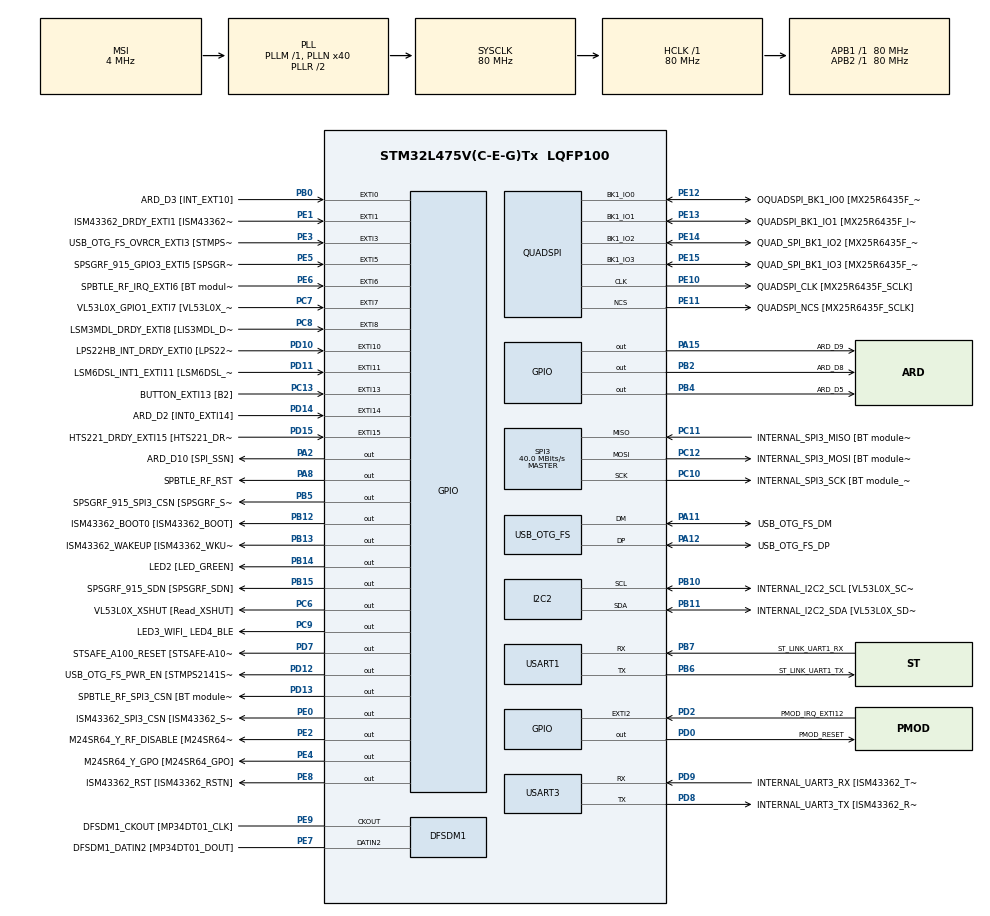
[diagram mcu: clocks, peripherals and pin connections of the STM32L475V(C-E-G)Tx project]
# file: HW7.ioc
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FREERTOS.Tasks01=defaultTask,0,128,StartDefaultTask,Default,NULL,Dynamic,NULL,NULL
I2C2.Timing=0x10D19CE4
Mcu.Family=STM32L4
Mcu.Name=STM32L475V(C-E-G)Tx
Mcu.Package=LQFP100
NVIC.EXTI15_10_IRQn=true\:5\:0\:false\:false\:true\:true\:true\:true\:true
NVIC.EXTI9_5_IRQn=true\:5\:0\:false\:false\:true\:true\:true\:true\:true
NVIC.PriorityGroup=NVIC_PRIORITYGROUP_4
PA0.GPIO_Label=ARD_D1 [UART4_TX]
PA0.Signal=UART4_TX
PA1.GPIO_Label=ARD_D0 [UART4_RX]
PA1.Signal=UART4_RX
PA10.GPIO_Label=USB_OTG_FS_ID
PA10.Signal=USB_OTG_FS_ID
PA11.GPIO_Label=USB_OTG_FS_DM
PA11.Mode=Device_Only
PA11.Signal=USB_OTG_FS_DM
PA12.GPIO_Label=USB_OTG_FS_DP
PA12.Mode=Device_Only
PA12.Signal=USB_OTG_FS_DP
PA13\ (JTMS-SWDIO).GPIO_Label=SYS_JTMS_SWDIO
PA13\ (JTMS-SWDIO).Mode=Serial_Wire
PA13\ (JTMS-SWDIO).Signal=SYS_JTMS-SWDIO
PA14\ (JTCK-SWCLK).GPIO_Label=SYS_JTCK_SWCLK
PA14\ (JTCK-SWCLK).Mode=Serial_Wire
PA14\ (JTCK-SWCLK).Signal=SYS_JTCK-SWCLK
PA15\ (JTDI).GPIO_Label=ARD_D9
PA15\ (JTDI).Signal=GPIO_Output
PA2.GPIO_Label=ARD_D10 [SPI_SSN]
PA2.Signal=GPIO_Output
PA3.GPIO_Label=ARD_D4
PA3.Signal=S_TIM2_CH4
PA4.GPIO_Label=ARD_D7
PA4.Signal=ADCx_IN9
PA5.GPIO_Label=ARD_D13 [SPI1_SCK]
PA5.Signal=SPI1_SCK
PA6.GPIO_Label=ARD_D12 [SPI1_MISO]
PA6.Signal=SPI1_MISO
PA7.GPIO_Label=ARD_D11 [SPI1_MOSI]
PA7.Signal=SPI1_MOSI
PA8.GPIO_Label=SPBTLE_RF_RST
PA8.Signal=GPIO_Output
PA9.GPIO_Label=USB_OTG_FS_VBUS [STMPS2141STR_OUT]
PA9.Signal=USB_OTG_FS_VBUS
PB0.GPIO_Label=ARD_D3 [INT_EXT10]
PB0.Signal=GPXTI0
PB1.GPIO_Label=ARD_D6 [ADC1_IN6]
PB1.Signal=ADCx_IN16
PB10.GPIO_Label=INTERNAL_I2C2_SCL [VL53L0X_SCL]
PB10.GPIO_Pu=GPIO_PULLUP
PB10.Mode=I2C
PB10.Signal=I2C2_SCL
PB11.GPIO_Label=INTERNAL_I2C2_SDA [VL53L0X_SDA]
PB11.GPIO_Pu=GPIO_PULLUP
PB11.Mode=I2C
PB11.Signal=I2C2_SDA
PB12.GPIO_Label=ISM43362_BOOT0 [ISM43362_BOOT]
PB12.Signal=GPIO_Output
PB13.GPIO_Label=ISM43362_WAKEUP [ISM43362_WKUP]
PB13.Signal=GPIO_Output
PB14.GPIO_Label=LED2 [LED_GREEN]
PB14.Signal=GPIO_Output
PB15.GPIO_Label=SPSGRF_915_SDN [SPSGRF_SDN]
PB15.Signal=GPIO_Output
PB2.GPIO_Label=ARD_D8
PB2.Signal=GPIO_Output
PB3\ (JTDO-TRACESWO).GPIO_Label=SYS_JTD0_SWO
PB3\ (JTDO-TRACESWO).Signal=SYS_JTDO-SWO
PB4\ (NJTRST).GPIO_Label=ARD_D5
PB4\ (NJTRST).Signal=GPIO_Output
PB5.GPIO_Label=SPSGRF_915_SPI3_CSN [SPSGRF_SPI_CS]
PB5.PinState=GPIO_PIN_SET
PB5.Signal=GPIO_Output
PB6.GPIO_Label=ST_LINK_UART1_TX
PB6.Mode=Asynchronous
PB6.Signal=USART1_TX
PB7.GPIO_Label=ST_LINK_UART1_RX
PB7.Mode=Asynchronous
PB7.Signal=USART1_RX
PB8.GPIO_Label=ARD_D15 [I2C1_SCL]
PB8.Signal=I2C1_SCL
PB9.GPIO_Label=ARD_D14 [I2C1_SDA]
PB9.Signal=I2C1_SDA
PC0.GPIO_Label=ARD_A5 [ADC]
PC0.Signal=ADCx_IN1
PC1.GPIO_Label=ARD_A4 [ADC]
PC1.Signal=ADCx_IN2
PC10.GPIO_Label=INTERNAL_SPI3_SCK [BT module_SPI_SCLK] [ISM43362_SCK]
PC10.Mode=Full_Duplex_Master
PC10.Signal=SPI3_SCK
PC11.GPIO_Label=INTERNAL_SPI3_MISO [BT module_SPI_MISO] [ISM43362_MISO]
PC11.Mode=Full_Duplex_Master
PC11.Signal=SPI3_MISO
PC12.GPIO_Label=INTERNAL_SPI3_MOSI [BT module_SPI_MOSI] [ISM43362_MOSI]
PC12.Mode=Full_Duplex_Master
PC12.Signal=SPI3_MOSI
PC13.GPIO_Label=BUTTON_EXTI13 [B2]
PC13.GPIO_ModeDefaultEXTI=GPIO_MODE_IT_FALLING
PC13.Signal=GPXTI13
PC14-OSC32_IN\ (PC14).Mode=LSE-External-Oscillator
PC14-OSC32_IN\ (PC14).Signal=RCC_OSC32_IN
PC15-OSC32_OUT\ (PC15).Mode=LSE-External-Oscillator
PC15-OSC32_OUT\ (PC15).Signal=RCC_OSC32_OUT
PC2.GPIO_Label=ARD_A3 [ADC]
PC2.Signal=ADCx_IN3
PC3.GPIO_Label=ARD_A2 [ADC]
PC3.Signal=ADCx_IN4
PC4.GPIO_Label=ARD_A1 [ADC]
PC4.Signal=ADCx_IN13
PC5.GPIO_Label=ARD_A0 [ADC]
PC5.Signal=ADCx_IN14
PC6.GPIO_Label=VL53L0X_XSHUT [Read_XSHUT]
PC6.Signal=GPIO_Output
PC7.GPIO_Label=VL53L0X_GPIO1_EXTI7 [VL53L0X_GPIO1]
PC7.Signal=GPXTI7
PC8.GPIO_Label=LSM3MDL_DRDY_EXTI8 [LIS3MDL_DRDY]
PC8.Signal=GPXTI8
PC9.GPIO_Label=LED3_WIFI_ LED4_BLE
PC9.Signal=GPIO_Output
PD0.GPIO_Label=PMOD_RESET
PD0.Signal=GPIO_Output
PD1.GPIO_Label=PMOD_SPI2_SCK
PD1.Signal=SPI2_SCK
PD10.GPIO_Label=LPS22HB_INT_DRDY_EXTI0 [LPS22HB_INT_DRDY] 
PD10.Signal=GPXTI10
PD11.GPIO_Label=LSM6DSL_INT1_EXTI11 [LSM6DSL_INT1]
PD11.Signal=GPXTI11
PD12.GPIO_Label=USB_OTG_FS_PWR_EN [STMPS2141STR_EN]
PD12.Signal=GPIO_Output
PD13.GPIO_Label=SPBTLE_RF_SPI3_CSN [BT module_SPI_CS]
PD13.PinState=GPIO_PIN_SET
PD13.Signal=GPIO_Output
PD14.GPIO_Label=ARD_D2 [INT0_EXTI14]
PD14.Signal=GPXTI14
PD15.GPIO_Label=HTS221_DRDY_EXTI15 [HTS221_DRDY]
PD15.Signal=GPXTI15
PD2.GPIO_Label=PMOD_IRQ_EXTI12
PD2.Signal=GPXTI2
PD3.GPIO_Label=PMOD_UART2_CTS
PD3.Signal=USART2_CTS
PD4.GPIO_Label=PMOD_UART2_RTS
PD4.Signal=USART2_RTS
PD5.GPIO_Label=PMOD_UART2_TX
PD5.Signal=USART2_TX
PD6.GPIO_Label=PMOD_UART2_RX
PD6.Signal=USART2_RX
PD7.GPIO_Label=STSAFE_A100_RESET [STSAFE-A100_RESET]
PD7.Signal=GPIO_Output
PD8.GPIO_Label=INTERNAL_UART3_TX [ISM43362_RX]
PD8.Mode=Asynchronous
PD8.Signal=USART3_TX
PD9.GPIO_Label=INTERNAL_UART3_RX [ISM43362_TX]
PD9.Mode=Asynchronous
PD9.Signal=USART3_RX
PE0.GPIO_Label=ISM43362_SPI3_CSN [ISM43362_SSN]
PE0.PinState=GPIO_PIN_SET
PE0.Signal=GPIO_Output
PE1.GPIO_Label=ISM43362_DRDY_EXTI1 [ISM43362_DATARDY]
PE1.Signal=GPXTI1
PE10.GPIO_Label=QUADSPI_CLK [MX25R6435F_SCLK]
PE10.Mode=Single Bank
PE10.Signal=QUADSPI_CLK
PE11.GPIO_Label=QUADSPI_NCS [MX25R6435F_SCLK]
PE11.Mode=Single Bank
PE11.Signal=QUADSPI_NCS
PE12.GPIO_Label=OQUADSPI_BK1_IO0 [MX25R6435F_IO0]
PE12.Mode=Single Bank
PE12.Signal=QUADSPI_BK1_IO0
PE13.GPIO_Label=QUADSPI_BK1_IO1 [MX25R6435F_IO1]
PE13.Mode=Single Bank
PE13.Signal=QUADSPI_BK1_IO1
PE14.GPIO_Label=QUAD_SPI_BK1_IO2 [MX25R6435F_IO2]
PE14.Mode=Single Bank
PE14.Signal=QUADSPI_BK1_IO2
PE15.GPIO_Label=QUAD_SPI_BK1_IO3 [MX25R6435F_IO3]
PE15.Mode=Single Bank
PE15.Signal=QUADSPI_BK1_IO3
PE2.GPIO_Label=M24SR64_Y_RF_DISABLE [M24SR64_RFDIS]
PE2.Signal=GPIO_Output
PE3.GPIO_Label=USB_OTG_FS_OVRCR_EXTI3 [STMPS2141STR_FAULT]
PE3.Signal=GPXTI3
PE4.GPIO_Label=M24SR64_Y_GPO [M24SR64_GPO]
PE4.Signal=GPIO_Output
PE5.GPIO_Label=SPSGRF_915_GPIO3_EXTI5 [SPSGRF_GPIO_3]
PE5.Signal=GPXTI5
PE6.GPIO_Label=SPBTLE_RF_IRQ_EXTI6 [BT module_SPI_IRQ]
PE6.Signal=GPXTI6
PE7.GPIO_Label=DFSDM1_DATIN2 [MP34DT01_DOUT]
PE7.Signal=S_DATAIN2DFSDM1
PE8.GPIO_Label=ISM43362_RST [ISM43362_RSTN]
PE8.Signal=GPIO_Output
PE9.GPIO_Label=DFSDM1_CKOUT [MP34DT01_CLK]
PE9.Signal=S_CKOUTDFSDM1
ProjectManager.HeapSize=0x200
ProjectManager.StackSize=0x400
ProjectManager.TargetToolchain=STM32CubeIDE
QUADSPI.ClockPrescaler=2
QUADSPI.FifoThreshold=4
QUADSPI.FlashSize=23
QUADSPI.SampleShifting=QSPI_SAMPLE_SHIFTING_HALFCYCLE
RCC.ADCFreq_Value=48000000
RCC.AHBFreq_Value=80000000
RCC.APB1Freq_Value=80000000
RCC.APB1TimFreq_Value=80000000
RCC.APB2Freq_Value=80000000
RCC.APB2TimFreq_Value=80000000
RCC.CortexFreq_Value=80000000
RCC.HCLKFreq_Value=80000000
RCC.HSE_VALUE=8000000
RCC.HSI_VALUE=16000000
RCC.MSI_VALUE=4000000
RCC.PLLN=40
RCC.PLLSAI1N=24
RCC.SYSCLKFreq_VALUE=80000000
RCC.SYSCLKSource=RCC_SYSCLKSOURCE_PLLCLK
RCC.USBFreq_Value=48000000
RCC.VCOOutputFreq_Value=160000000
SH.ADCx_IN1.0=ADC1_IN1
SH.ADCx_IN13.0=ADC1_IN13
SH.ADCx_IN14.0=ADC1_IN14
SH.ADCx_IN16.0=ADC1_IN16
SH.ADCx_IN2.0=ADC1_IN2
SH.ADCx_IN3.0=ADC1_IN3
SH.ADCx_IN4.0=ADC1_IN4
SH.ADCx_IN9.0=ADC1_IN9
SH.S_CKOUTDFSDM1.0=DFSDM1_CKOUT,CKOUT
SH.S_CKOUTDFSDM1.1=DFSDM1_CKOUT,PDM_SPI_Input_from_ch12_and_Internal_Clock
SH.S_DATAIN2DFSDM1.0=DFSDM1_DATIN2,PDM_SPI_Input_from_ch12_and_Internal_Clock
SH.S_TIM2_CH4.0=TIM2_CH4
SPI3.CalculateBaudRate=40.0 MBits/s
SPI3.Direction=SPI_DIRECTION_2LINES
SPI3.Mode=SPI_MODE_MASTER
SPI3.VirtualType=VM_MASTER
USART1.VirtualMode-Asynchronous=VM_ASYNC
USART3.VirtualMode-Asynchronous=VM_ASYNC
USB_OTG_FS.VirtualMode=Device_Only
VP_FREERTOS_VS_CMSIS_V1.Mode=CMSIS_V1
board=B-L475E-IOT01A1

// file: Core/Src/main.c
/* USER CODE BEGIN Header */
/**
  ******************************************************************************
  * @file           : main.c
  * @brief          : Main program body
  ******************************************************************************
  * @attention
  *
  * Copyright (c) 2025 STMicroelectronics.
  * All rights reserved.
  *
  * This software is licensed under terms that can be found in the LICENSE file
  * in the root directory of this software component.
  * If no LICENSE file comes with this software, it is provided AS-IS.
  *
  ******************************************************************************
  */
/* USER CODE END Header */
#include "main.h"
#include "cmsis_os.h"
#include "stdio.h"
#include "arm_math.h"

/* USER CODE BEGIN PD */
#define TEST_LENGTH_SAMPLES  320
#define SNR_THRESHOLD_F32    140.0f
#define BLOCK_SIZE            32
#define NUM_TAPS              29
/* USER CODE END PD */

DFSDM_Channel_HandleTypeDef hdfsdm1_channel1;

I2C_HandleTypeDef hi2c2;

QSPI_HandleTypeDef hqspi;

SPI_HandleTypeDef hspi3;

UART_HandleTypeDef huart1;
UART_HandleTypeDef huart3;

PCD_HandleTypeDef hpcd_USB_OTG_FS;

osThreadId defaultTaskHandle;
/* USER CODE BEGIN PV */
/* -------------------------------------------------------------------
 * 範例的輸入和參考輸出 (來自 arm_fir_lpf_data.c)
 * 您必須將這些數據加進來，否則範例無法執行
 * ------------------------------------------------------------------- */
extern float32_t testInput_f32_1kHz_15kHz[TEST_LENGTH_SAMPLES];
extern float32_t refOutput[TEST_LENGTH_SAMPLES];

/* -------------------------------------------------------------------
 * 宣告測試輸出緩衝區
 * ------------------------------------------------------------------- */
static float32_t testOutput[TEST_LENGTH_SAMPLES];

/* -------------------------------------------------------------------
 * 宣告狀態緩衝區 (State buffer)
 * ------------------------------------------------------------------- */
static float32_t firStateF32[BLOCK_SIZE + NUM_TAPS - 1];

/* ----------------------------------------------------------------------
 * FIR 濾波器係數 (Coefficients)
 * ------------------------------------------------------------------- */
const float32_t firCoeffs32[NUM_TAPS] = {
  -0.0018225230f, -0.0015879294f, +0.0000000000f, +0.0036977508f, +0.0080754303f, +0.0085302217f, -0.0000000000f, -0.0173976984f,
  -0.0341458607f, -0.0333591565f, +0.0000000000f, +0.0676308395f, +0.1522061835f, +0.2229246956f, +0.2504960933f, +0.2229246956f,
  +0.1522061835f, +0.0676308395f, +0.0000000000f, -0.0333591565f, -0.0341458607f, -0.0173976984f, -0.0000000000f, +0.0085302217f,
  +0.0080754303f, +0.0036977508f, +0.0000000000f, -0.0015879294f, -0.0018225230f
};

/* ------------------------------------------------------------------
 * FIR LPF 範例所需的全域變數
 * ------------------------------------------------------------------- */
uint32_t blockSize = BLOCK_SIZE;
uint32_t numBlocks = TEST_LENGTH_SAMPLES/BLOCK_SIZE;

float32_t  snr;
/* USER CODE END PV */

void SystemClock_Config(void);
static void MX_GPIO_Init(void);
static void MX_DFSDM1_Init(void);
static void MX_I2C2_Init(void);
static void MX_QUADSPI_Init(void);
static void MX_SPI3_Init(void);
static void MX_USART1_UART_Init(void);
static void MX_USART3_UART_Init(void);
static void MX_USB_OTG_FS_PCD_Init(void);
void StartDefaultTask(void const * argument);

/* USER CODE BEGIN 0 */
int __io_putchar(int ch)
{
	HAL_UART_Transmit(&huart1, (uint8_t *)&ch, 1, 0XFFFF);
	return ch;
}
/* USER CODE END 0 */

int main(void)
{

  /* MCU Configuration--------------------------------------------------------*/

  /* Reset of all peripherals, Initializes the Flash interface and the Systick. */
  HAL_Init();

  /* Configure the system clock */
  SystemClock_Config();

  /* Initialize all configured peripherals */
  MX_GPIO_Init();
  MX_DFSDM1_Init();
  MX_I2C2_Init();
  MX_QUADSPI_Init();
  MX_SPI3_Init();
  MX_USART1_UART_Init();
  MX_USART3_UART_Init();
  MX_USB_OTG_FS_PCD_Init();
  /* USER CODE BEGIN 2 */
  /* 範例程式碼的變數宣告 */
  uint32_t i;
  arm_fir_instance_f32 S;
  arm_status status;
  float32_t  *inputF32, *outputF32;

  /* 初始化輸入和輸出緩衝區指標 */
  inputF32 = &testInput_f32_1kHz_15kHz[0];
  outputF32 = &testOutput[0];

  /* 呼叫 FIR 初始化函式 */
  arm_fir_init_f32(&S, NUM_TAPS, (float32_t *)&firCoeffs32[0], &firStateF32[0], blockSize);

  /* ----------------------------------------------------------------------
   * 呼叫 FIR 處理函式 (一次處理一個 block)
   * ------------------------------------------------------------------- */
  for(i=0; i < numBlocks; i++)
  {
    arm_fir_f32(&S, inputF32 + (i * blockSize), outputF32 + (i * blockSize), blockSize);
  }

  /* ----------------------------------------------------------------------
   * (可選) 比較輸出與參考輸出的 SNR
   * ------------------------------------------------------------------- */
  snr = arm_snr_f32(&refOutput[0], &testOutput[0], TEST_LENGTH_SAMPLES);

  if (snr < SNR_THRESHOLD_F32)
  {
    status = ARM_MATH_TEST_FAILURE;
  }
  else
  {
    status = ARM_MATH_SUCCESS;
  }

  /* * 在這裡設定一個斷點 (Breakpoint) 來檢查結果！
   * 您可以在 Debug 模式下查看 'status' 和 'snr' 的值
   * 也可以查看 'testOutput' 陣列的內容
   */
  //printf("SNR = %f dB\r\n", snr);
  printf("Status = %s\r\n", (status == ARM_MATH_SUCCESS) ? "SUCCESS" : "FAILURE");

  for (int i = 0; i < TEST_LENGTH_SAMPLES; i++) {
	  int32_t val_raw = (int32_t)(testInput_f32_1kHz_15kHz[i] * 1000000.0f);
	  int32_t val_filtered = (int32_t)(testOutput[i] * 1000000.0f);
	  printf("%d,%d\r\n", (int)val_raw, (int)val_filtered);

	  HAL_Delay(1);
  }

  if ( status != ARM_MATH_SUCCESS)
  {
     // 如果失敗，停在這裡
     __NOP(); // 在這裡設斷點
  }
  else
  {
     // 如果成功，停在這裡
     __NOP(); // 或者在這裡設斷點
  }
  /* USER CODE END 2 */

  /* Create the thread(s) */
  /* definition and creation of defaultTask */
  osThreadDef(defaultTask, StartDefaultTask, osPriorityNormal, 0, 128);
  defaultTaskHandle = osThreadCreate(osThread(defaultTask), NULL);

  /* Start scheduler */
  osKernelStart();

  /* We should never get here as control is now taken by the scheduler */

  /* Infinite loop */
  while (1)
  {

  }
}

void SystemClock_Config(void)
{
  RCC_OscInitTypeDef RCC_OscInitStruct = {0};
  RCC_ClkInitTypeDef RCC_ClkInitStruct = {0};

  /** Configure the main internal regulator output voltage
  */
  if (HAL_PWREx_ControlVoltageScaling(PWR_REGULATOR_VOLTAGE_SCALE1) != HAL_OK)
  {
    Error_Handler();
  }

  /** Configure LSE Drive Capability
  */
  HAL_PWR_EnableBkUpAccess();
  __HAL_RCC_LSEDRIVE_CONFIG(RCC_LSEDRIVE_LOW);

  /** Initializes the RCC Oscillators according to the specified parameters
  * in the RCC_OscInitTypeDef structure.
  */
  RCC_OscInitStruct.OscillatorType = RCC_OSCILLATORTYPE_LSE|RCC_OSCILLATORTYPE_MSI;
  RCC_OscInitStruct.LSEState = RCC_LSE_ON;
  RCC_OscInitStruct.MSIState = RCC_MSI_ON;
  RCC_OscInitStruct.MSICalibrationValue = 0;
  RCC_OscInitStruct.MSIClockRange = RCC_MSIRANGE_6;
  RCC_OscInitStruct.PLL.PLLState = RCC_PLL_ON;
  RCC_OscInitStruct.PLL.PLLSource = RCC_PLLSOURCE_MSI;
  RCC_OscInitStruct.PLL.PLLM = 1;
  RCC_OscInitStruct.PLL.PLLN = 40;
  RCC_OscInitStruct.PLL.PLLP = RCC_PLLP_DIV7;
  RCC_OscInitStruct.PLL.PLLQ = RCC_PLLQ_DIV2;
  RCC_OscInitStruct.PLL.PLLR = RCC_PLLR_DIV2;
  if (HAL_RCC_OscConfig(&RCC_OscInitStruct) != HAL_OK)
  {
    Error_Handler();
  }

  /** Initializes the CPU, AHB and APB buses clocks
  */
  RCC_ClkInitStruct.ClockType = RCC_CLOCKTYPE_HCLK|RCC_CLOCKTYPE_SYSCLK
                              |RCC_CLOCKTYPE_PCLK1|RCC_CLOCKTYPE_PCLK2;
  RCC_ClkInitStruct.SYSCLKSource = RCC_SYSCLKSOURCE_PLLCLK;
  RCC_ClkInitStruct.AHBCLKDivider = RCC_SYSCLK_DIV1;
  RCC_ClkInitStruct.APB1CLKDivider = RCC_HCLK_DIV1;
  RCC_ClkInitStruct.APB2CLKDivider = RCC_HCLK_DIV1;

  if (HAL_RCC_ClockConfig(&RCC_ClkInitStruct, FLASH_LATENCY_4) != HAL_OK)
  {
    Error_Handler();
  }

  /** Enable MSI Auto calibration
  */
  HAL_RCCEx_EnableMSIPLLMode();
}

static void MX_DFSDM1_Init(void)
{

  hdfsdm1_channel1.Instance = DFSDM1_Channel1;
  hdfsdm1_channel1.Init.OutputClock.Activation = ENABLE;
  hdfsdm1_channel1.Init.OutputClock.Selection = DFSDM_CHANNEL_OUTPUT_CLOCK_SYSTEM;
  hdfsdm1_channel1.Init.OutputClock.Divider = 2;
  hdfsdm1_channel1.Init.Input.Multiplexer = DFSDM_CHANNEL_EXTERNAL_INPUTS;
  hdfsdm1_channel1.Init.Input.DataPacking = DFSDM_CHANNEL_STANDARD_MODE;
  hdfsdm1_channel1.Init.Input.Pins = DFSDM_CHANNEL_FOLLOWING_CHANNEL_PINS;
  hdfsdm1_channel1.Init.SerialInterface.Type = DFSDM_CHANNEL_SPI_RISING;
  hdfsdm1_channel1.Init.SerialInterface.SpiClock = DFSDM_CHANNEL_SPI_CLOCK_INTERNAL;
  hdfsdm1_channel1.Init.Awd.FilterOrder = DFSDM_CHANNEL_FASTSINC_ORDER;
  hdfsdm1_channel1.Init.Awd.Oversampling = 1;
  hdfsdm1_channel1.Init.Offset = 0;
  hdfsdm1_channel1.Init.RightBitShift = 0x00;
  if (HAL_DFSDM_ChannelInit(&hdfsdm1_channel1) != HAL_OK)
  {
    Error_Handler();
  }

}

static void MX_I2C2_Init(void)
{

  hi2c2.Instance = I2C2;
  hi2c2.Init.Timing = 0x10D19CE4;
  hi2c2.Init.OwnAddress1 = 0;
  hi2c2.Init.AddressingMode = I2C_ADDRESSINGMODE_7BIT;
  hi2c2.Init.DualAddressMode = I2C_DUALADDRESS_DISABLE;
  hi2c2.Init.OwnAddress2 = 0;
  hi2c2.Init.OwnAddress2Masks = I2C_OA2_NOMASK;
  hi2c2.Init.GeneralCallMode = I2C_GENERALCALL_DISABLE;
  hi2c2.Init.NoStretchMode = I2C_NOSTRETCH_DISABLE;
  if (HAL_I2C_Init(&hi2c2) != HAL_OK)
  {
    Error_Handler();
  }

  /** Configure Analogue filter
  */
  if (HAL_I2CEx_ConfigAnalogFilter(&hi2c2, I2C_ANALOGFILTER_ENABLE) != HAL_OK)
  {
    Error_Handler();
  }

  /** Configure Digital filter
  */
  if (HAL_I2CEx_ConfigDigitalFilter(&hi2c2, 0) != HAL_OK)
  {
    Error_Handler();
  }

}

static void MX_QUADSPI_Init(void)
{

  /* QUADSPI parameter configuration*/
  hqspi.Instance = QUADSPI;
  hqspi.Init.ClockPrescaler = 2;
  hqspi.Init.FifoThreshold = 4;
  hqspi.Init.SampleShifting = QSPI_SAMPLE_SHIFTING_HALFCYCLE;
  hqspi.Init.FlashSize = 23;
  hqspi.Init.ChipSelectHighTime = QSPI_CS_HIGH_TIME_1_CYCLE;
  hqspi.Init.ClockMode = QSPI_CLOCK_MODE_0;
  if (HAL_QSPI_Init(&hqspi) != HAL_OK)
  {
    Error_Handler();
  }

}

static void MX_SPI3_Init(void)
{

  /* SPI3 parameter configuration*/
  hspi3.Instance = SPI3;
  hspi3.Init.Mode = SPI_MODE_MASTER;
  hspi3.Init.Direction = SPI_DIRECTION_2LINES;
  hspi3.Init.DataSize = SPI_DATASIZE_4BIT;
  hspi3.Init.CLKPolarity = SPI_POLARITY_LOW;
  hspi3.Init.CLKPhase = SPI_PHASE_1EDGE;
  hspi3.Init.NSS = SPI_NSS_SOFT;
  hspi3.Init.BaudRatePrescaler = SPI_BAUDRATEPRESCALER_2;
  hspi3.Init.FirstBit = SPI_FIRSTBIT_MSB;
  hspi3.Init.TIMode = SPI_TIMODE_DISABLE;
  hspi3.Init.CRCCalculation = SPI_CRCCALCULATION_DISABLE;
  hspi3.Init.CRCPolynomial = 7;
  hspi3.Init.CRCLength = SPI_CRC_LENGTH_DATASIZE;
  hspi3.Init.NSSPMode = SPI_NSS_PULSE_ENABLE;
  if (HAL_SPI_Init(&hspi3) != HAL_OK)
  {
    Error_Handler();
  }

}

static void MX_USART1_UART_Init(void)
{

  huart1.Instance = USART1;
  huart1.Init.BaudRate = 115200;
  huart1.Init.WordLength = UART_WORDLENGTH_8B;
  huart1.Init.StopBits = UART_STOPBITS_1;
  huart1.Init.Parity = UART_PARITY_NONE;
  huart1.Init.Mode = UART_MODE_TX_RX;
  huart1.Init.HwFlowCtl = UART_HWCONTROL_NONE;
  huart1.Init.OverSampling = UART_OVERSAMPLING_16;
  huart1.Init.OneBitSampling = UART_ONE_BIT_SAMPLE_DISABLE;
  huart1.AdvancedInit.AdvFeatureInit = UART_ADVFEATURE_NO_INIT;
  if (HAL_UART_Init(&huart1) != HAL_OK)
  {
    Error_Handler();
  }

}

static void MX_USART3_UART_Init(void)
{

  huart3.Instance = USART3;
  huart3.Init.BaudRate = 115200;
  huart3.Init.WordLength = UART_WORDLENGTH_8B;
  huart3.Init.StopBits = UART_STOPBITS_1;
  huart3.Init.Parity = UART_PARITY_NONE;
  huart3.Init.Mode = UART_MODE_TX_RX;
  huart3.Init.HwFlowCtl = UART_HWCONTROL_NONE;
  huart3.Init.OverSampling = UART_OVERSAMPLING_16;
  huart3.Init.OneBitSampling = UART_ONE_BIT_SAMPLE_DISABLE;
  huart3.AdvancedInit.AdvFeatureInit = UART_ADVFEATURE_NO_INIT;
  if (HAL_UART_Init(&huart3) != HAL_OK)
  {
    Error_Handler();
  }

}

static void MX_USB_OTG_FS_PCD_Init(void)
{

  hpcd_USB_OTG_FS.Instance = USB_OTG_FS;
  hpcd_USB_OTG_FS.Init.dev_endpoints = 6;
  hpcd_USB_OTG_FS.Init.speed = PCD_SPEED_FULL;
  hpcd_USB_OTG_FS.Init.phy_itface = PCD_PHY_EMBEDDED;
  hpcd_USB_OTG_FS.Init.Sof_enable = DISABLE;
  hpcd_USB_OTG_FS.Init.low_power_enable = DISABLE;
  hpcd_USB_OTG_FS.Init.lpm_enable = DISABLE;
  hpcd_USB_OTG_FS.Init.battery_charging_enable = DISABLE;
  hpcd_USB_OTG_FS.Init.use_dedicated_ep1 = DISABLE;
  hpcd_USB_OTG_FS.Init.vbus_sensing_enable = DISABLE;
  if (HAL_PCD_Init(&hpcd_USB_OTG_FS) != HAL_OK)
  {
    Error_Handler();
  }

}

static void MX_GPIO_Init(void)
{
  GPIO_InitTypeDef GPIO_InitStruct = {0};

  /* GPIO Ports Clock Enable */
  __HAL_RCC_GPIOE_CLK_ENABLE();
  __HAL_RCC_GPIOC_CLK_ENABLE();
  __HAL_RCC_GPIOA_CLK_ENABLE();
  __HAL_RCC_GPIOB_CLK_ENABLE();
  __HAL_RCC_GPIOD_CLK_ENABLE();

  /*Configure GPIO pin Output Level */
  HAL_GPIO_WritePin(GPIOE, M24SR64_Y_RF_DISABLE_Pin|M24SR64_Y_GPO_Pin|ISM43362_RST_Pin, GPIO_PIN_RESET);

  /*Configure GPIO pin Output Level */
  HAL_GPIO_WritePin(GPIOA, ARD_D10_Pin|SPBTLE_RF_RST_Pin|ARD_D9_Pin, GPIO_PIN_RESET);

  /*Configure GPIO pin Output Level */
  HAL_GPIO_WritePin(GPIOB, ARD_D8_Pin|ISM43362_BOOT0_Pin|ISM43362_WAKEUP_Pin|LED2_Pin
                          |SPSGRF_915_SDN_Pin|ARD_D5_Pin, GPIO_PIN_RESET);

  /*Configure GPIO pin Output Level */
  HAL_GPIO_WritePin(GPIOD, USB_OTG_FS_PWR_EN_Pin|PMOD_RESET_Pin|STSAFE_A100_RESET_Pin, GPIO_PIN_RESET);

  /*Configure GPIO pin Output Level */
  HAL_GPIO_WritePin(SPBTLE_RF_SPI3_CSN_GPIO_Port, SPBTLE_RF_SPI3_CSN_Pin, GPIO_PIN_SET);

  /*Configure GPIO pin Output Level */
  HAL_GPIO_WritePin(GPIOC, VL53L0X_XSHUT_Pin|LED3_WIFI__LED4_BLE_Pin, GPIO_PIN_RESET);

  /*Configure GPIO pin Output Level */
  HAL_GPIO_WritePin(SPSGRF_915_SPI3_CSN_GPIO_Port, SPSGRF_915_SPI3_CSN_Pin, GPIO_PIN_SET);

  /*Configure GPIO pin Output Level */
  HAL_GPIO_WritePin(ISM43362_SPI3_CSN_GPIO_Port, ISM43362_SPI3_CSN_Pin, GPIO_PIN_SET);

  /*Configure GPIO pins : M24SR64_Y_RF_DISABLE_Pin M24SR64_Y_GPO_Pin ISM43362_RST_Pin ISM43362_SPI3_CSN_Pin */
  GPIO_InitStruct.Pin = M24SR64_Y_RF_DISABLE_Pin|M24SR64_Y_GPO_Pin|ISM43362_RST_Pin|ISM43362_SPI3_CSN_Pin;
  GPIO_InitStruct.Mode = GPIO_MODE_OUTPUT_PP;
  GPIO_InitStruct.Pull = GPIO_NOPULL;
  GPIO_InitStruct.Speed = GPIO_SPEED_FREQ_LOW;
  HAL_GPIO_Init(GPIOE, &GPIO_InitStruct);

  /*Configure GPIO pins : USB_OTG_FS_OVRCR_EXTI3_Pin SPSGRF_915_GPIO3_EXTI5_Pin SPBTLE_RF_IRQ_EXTI6_Pin ISM43362_DRDY_EXTI1_Pin */
  GPIO_InitStruct.Pin = USB_OTG_FS_OVRCR_EXTI3_Pin|SPSGRF_915_GPIO3_EXTI5_Pin|SPBTLE_RF_IRQ_EXTI6_Pin|ISM43362_DRDY_EXTI1_Pin;
  GPIO_InitStruct.Mode = GPIO_MODE_IT_RISING;
  GPIO_InitStruct.Pull = GPIO_NOPULL;
  HAL_GPIO_Init(GPIOE, &GPIO_InitStruct);

  /*Configure GPIO pin : BUTTON_EXTI13_Pin */
  GPIO_InitStruct.Pin = BUTTON_EXTI13_Pin;
  GPIO_InitStruct.Mode = GPIO_MODE_IT_FALLING;
  GPIO_InitStruct.Pull = GPIO_NOPULL;
  HAL_GPIO_Init(BUTTON_EXTI13_GPIO_Port, &GPIO_InitStruct);

  /*Configure GPIO pins : ARD_A5_Pin ARD_A4_Pin ARD_A3_Pin ARD_A2_Pin
                           ARD_A1_Pin ARD_A0_Pin */
  GPIO_InitStruct.Pin = ARD_A5_Pin|ARD_A4_Pin|ARD_A3_Pin|ARD_A2_Pin
                          |ARD_A1_Pin|ARD_A0_Pin;
  GPIO_InitStruct.Mode = GPIO_MODE_ANALOG_ADC_CONTROL;
  GPIO_InitStruct.Pull = GPIO_NOPULL;
  HAL_GPIO_Init(GPIOC, &GPIO_InitStruct);

  /*Configure GPIO pins : ARD_D1_Pin ARD_D0_Pin */
  GPIO_InitStruct.Pin = ARD_D1_Pin|ARD_D0_Pin;
  GPIO_InitStruct.Mode = GPIO_MODE_AF_PP;
  GPIO_InitStruct.Pull = GPIO_NOPULL;
  GPIO_InitStruct.Speed = GPIO_SPEED_FREQ_VERY_HIGH;
  GPIO_InitStruct.Alternate = GPIO_AF8_UART4;
  HAL_GPIO_Init(GPIOA, &GPIO_InitStruct);

  /*Configure GPIO pins : ARD_D10_Pin SPBTLE_RF_RST_Pin ARD_D9_Pin */
  GPIO_InitStruct.Pin = ARD_D10_Pin|SPBTLE_RF_RST_Pin|ARD_D9_Pin;
  GPIO_InitStruct.Mode = GPIO_MODE_OUTPUT_PP;
  GPIO_InitStruct.Pull = GPIO_NOPULL;
  GPIO_InitStruct.Speed = GPIO_SPEED_FREQ_LOW;
  HAL_GPIO_Init(GPIOA, &GPIO_InitStruct);

  /*Configure GPIO pin : ARD_D4_Pin */
  GPIO_InitStruct.Pin = ARD_D4_Pin;
  GPIO_InitStruct.Mode = GPIO_MODE_AF_PP;
  GPIO_InitStruct.Pull = GPIO_NOPULL;
  GPIO_InitStruct.Speed = GPIO_SPEED_FREQ_LOW;
  GPIO_InitStruct.Alternate = GPIO_AF1_TIM2;
  HAL_GPIO_Init(ARD_D4_GPIO_Port, &GPIO_InitStruct);

  /*Configure GPIO pin : ARD_D7_Pin */
  GPIO_InitStruct.Pin = ARD_D7_Pin;
  GPIO_InitStruct.Mode = GPIO_MODE_ANALOG_ADC_CONTROL;
  GPIO_InitStruct.Pull = GPIO_NOPULL;
  HAL_GPIO_Init(ARD_D7_GPIO_Port, &GPIO_InitStruct);

  /*Configure GPIO pins : ARD_D13_Pin ARD_D12_Pin ARD_D11_Pin */
  GPIO_InitStruct.Pin = ARD_D13_Pin|ARD_D12_Pin|ARD_D11_Pin;
  GPIO_InitStruct.Mode = GPIO_MODE_AF_PP;
  GPIO_InitStruct.Pull = GPIO_NOPULL;
  GPIO_InitStruct.Speed = GPIO_SPEED_FREQ_VERY_HIGH;
  GPIO_InitStruct.Alternate = GPIO_AF5_SPI1;
  HAL_GPIO_Init(GPIOA, &GPIO_InitStruct);

  /*Configure GPIO pin : ARD_D3_Pin */
  GPIO_InitStruct.Pin = ARD_D3_Pin;
  GPIO_InitStruct.Mode = GPIO_MODE_IT_RISING;
  GPIO_InitStruct.Pull = GPIO_NOPULL;
  HAL_GPIO_Init(ARD_D3_GPIO_Port, &GPIO_InitStruct);

  /*Configure GPIO pin : ARD_D6_Pin */
  GPIO_InitStruct.Pin = ARD_D6_Pin;
  GPIO_InitStruct.Mode = GPIO_MODE_ANALOG_ADC_CONTROL;
  GPIO_InitStruct.Pull = GPIO_NOPULL;
  HAL_GPIO_Init(ARD_D6_GPIO_Port, &GPIO_InitStruct);

  /*Configure GPIO pins : ARD_D8_Pin ISM43362_BOOT0_Pin ISM43362_WAKEUP_Pin LED2_Pin
                           SPSGRF_915_SDN_Pin ARD_D5_Pin SPSGRF_915_SPI3_CSN_Pin */
  GPIO_InitStruct.Pin = ARD_D8_Pin|ISM43362_BOOT0_Pin|ISM43362_WAKEUP_Pin|LED2_Pin
                          |SPSGRF_915_SDN_Pin|ARD_D5_Pin|SPSGRF_915_SPI3_CSN_Pin;
  GPIO_InitStruct.Mode = GPIO_MODE_OUTPUT_PP;
  GPIO_InitStruct.Pull = GPIO_NOPULL;
  GPIO_InitStruct.Speed = GPIO_SPEED_FREQ_LOW;
  HAL_GPIO_Init(GPIOB, &GPIO_InitStruct);

  /*Configure GPIO pins : LPS22HB_INT_DRDY_EXTI0_Pin LSM6DSL_INT1_EXTI11_Pin ARD_D2_Pin HTS221_DRDY_EXTI15_Pin
                           PMOD_IRQ_EXTI12_Pin */
  GPIO_InitStruct.Pin = LPS22HB_INT_DRDY_EXTI0_Pin|LSM6DSL_INT1_EXTI11_Pin|ARD_D2_Pin|HTS221_DRDY_EXTI15_Pin
                          |PMOD_IRQ_EXTI12_Pin;
  GPIO_InitStruct.Mode = GPIO_MODE_IT_RISING;
  GPIO_InitStruct.Pull = GPIO_NOPULL;
  HAL_GPIO_Init(GPIOD, &GPIO_InitStruct);

  /*Configure GPIO pins : USB_OTG_FS_PWR_EN_Pin SPBTLE_RF_SPI3_CSN_Pin PMOD_RESET_Pin STSAFE_A100_RESET_Pin */
  GPIO_InitStruct.Pin = USB_OTG_FS_PWR_EN_Pin|SPBTLE_RF_SPI3_CSN_Pin|PMOD_RESET_Pin|STSAFE_A100_RESET_Pin;
  GPIO_InitStruct.Mode = GPIO_MODE_OUTPUT_PP;
  GPIO_InitStruct.Pull = GPIO_NOPULL;
  GPIO_InitStruct.Speed = GPIO_SPEED_FREQ_LOW;
  HAL_GPIO_Init(GPIOD, &GPIO_InitStruct);

  /*Configure GPIO pins : VL53L0X_XSHUT_Pin LED3_WIFI__LED4_BLE_Pin */
  GPIO_InitStruct.Pin = VL53L0X_XSHUT_Pin|LED3_WIFI__LED4_BLE_Pin;
  GPIO_InitStruct.Mode = GPIO_MODE_OUTPUT_PP;
  GPIO_InitStruct.Pull = GPIO_NOPULL;
  GPIO_InitStruct.Speed = GPIO_SPEED_FREQ_LOW;
  HAL_GPIO_Init(GPIOC, &GPIO_InitStruct);

  /*Configure GPIO pins : VL53L0X_GPIO1_EXTI7_Pin LSM3MDL_DRDY_EXTI8_Pin */
  GPIO_InitStruct.Pin = VL53L0X_GPIO1_EXTI7_Pin|LSM3MDL_DRDY_EXTI8_Pin;
  GPIO_InitStruct.Mode = GPIO_MODE_IT_RISING;
  GPIO_InitStruct.Pull = GPIO_NOPULL;
  HAL_GPIO_Init(GPIOC, &GPIO_InitStruct);

  /*Configure GPIO pin : PMOD_SPI2_SCK_Pin */
  GPIO_InitStruct.Pin = PMOD_SPI2_SCK_Pin;
  GPIO_InitStruct.Mode = GPIO_MODE_AF_PP;
  GPIO_InitStruct.Pull = GPIO_NOPULL;
  GPIO_InitStruct.Speed = GPIO_SPEED_FREQ_VERY_HIGH;
  GPIO_InitStruct.Alternate = GPIO_AF5_SPI2;
  HAL_GPIO_Init(PMOD_SPI2_SCK_GPIO_Port, &GPIO_InitStruct);

  /*Configure GPIO pins : PMOD_UART2_CTS_Pin PMOD_UART2_RTS_Pin PMOD_UART2_TX_Pin PMOD_UART2_RX_Pin */
  GPIO_InitStruct.Pin = PMOD_UART2_CTS_Pin|PMOD_UART2_RTS_Pin|PMOD_UART2_TX_Pin|PMOD_UART2_RX_Pin;
  GPIO_InitStruct.Mode = GPIO_MODE_AF_PP;
  GPIO_InitStruct.Pull = GPIO_NOPULL;
  GPIO_InitStruct.Speed = GPIO_SPEED_FREQ_VERY_HIGH;
  GPIO_InitStruct.Alternate = GPIO_AF7_USART2;
  HAL_GPIO_Init(GPIOD, &GPIO_InitStruct);

  /*Configure GPIO pins : ARD_D15_Pin ARD_D14_Pin */
  GPIO_InitStruct.Pin = ARD_D15_Pin|ARD_D14_Pin;
  GPIO_InitStruct.Mode = GPIO_MODE_AF_OD;
  GPIO_InitStruct.Pull = GPIO_NOPULL;
  GPIO_InitStruct.Speed = GPIO_SPEED_FREQ_VERY_HIGH;
  GPIO_InitStruct.Alternate = GPIO_AF4_I2C1;
  HAL_GPIO_Init(GPIOB, &GPIO_InitStruct);

  /* EXTI interrupt init*/
  HAL_NVIC_SetPriority(EXTI9_5_IRQn, 5, 0);
  HAL_NVIC_EnableIRQ(EXTI9_5_IRQn);

  HAL_NVIC_SetPriority(EXTI15_10_IRQn, 5, 0);
  HAL_NVIC_EnableIRQ(EXTI15_10_IRQn);

}

void StartDefaultTask(void const * argument)
{
  for(;;)
  {
    osDelay(1);
  }
}

void Error_Handler(void)
{
  __disable_irq();
  while (1)
  {
  }
}
